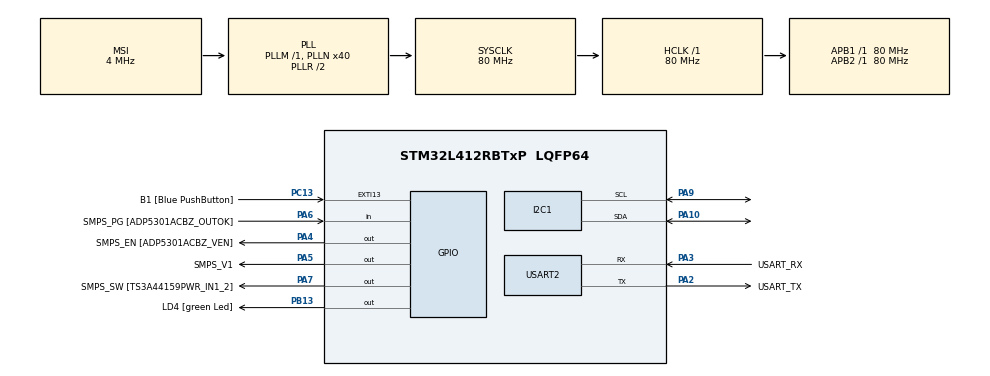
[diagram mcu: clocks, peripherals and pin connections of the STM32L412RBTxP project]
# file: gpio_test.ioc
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I2C1.Timing=0x10909CEC
Mcu.Family=STM32L4
Mcu.Name=STM32L412RBTxP
Mcu.Package=LQFP64
NVIC.PriorityGroup=NVIC_PRIORITYGROUP_4
PA10.Mode=I2C
PA10.Signal=I2C1_SDA
PA13\ (JTMS/SWDIO).GPIO_Label=TMS
PA13\ (JTMS/SWDIO).Mode=Serial_Wire
PA13\ (JTMS/SWDIO).Signal=SYS_JTMS-SWDIO
PA14\ (JTCK/SWCLK).GPIO_Label=TCK
PA14\ (JTCK/SWCLK).Mode=Serial_Wire
PA14\ (JTCK/SWCLK).Signal=SYS_JTCK-SWCLK
PA2.GPIO_Label=USART_TX
PA2.GPIO_PuPd=GPIO_NOPULL
PA2.GPIO_Speed=GPIO_SPEED_FREQ_VERY_HIGH
PA2.Mode=Asynchronous
PA2.Signal=USART2_TX
PA3.GPIO_Label=USART_RX
PA3.GPIO_PuPd=GPIO_NOPULL
PA3.GPIO_Speed=GPIO_SPEED_FREQ_VERY_HIGH
PA3.Mode=Asynchronous
PA3.Signal=USART2_RX
PA4.GPIO_Label=SMPS_EN [ADP5301ACBZ_VEN]
PA4.Signal=GPIO_Output
PA5.GPIO_Label=SMPS_V1
PA5.GPIO_ModeDefaultOutputPP=GPIO_MODE_OUTPUT_PP
PA5.GPIO_PuPd=GPIO_NOPULL
PA5.GPIO_Speed=GPIO_SPEED_FREQ_LOW
PA5.Signal=GPIO_Output
PA6.GPIO_Label=SMPS_PG [ADP5301ACBZ_OUTOK]
PA6.GPIO_PuPd=GPIO_PULLUP
PA6.Signal=GPIO_Input
PA7.GPIO_Label=SMPS_SW [TS3A44159PWR_IN1_2]
PA7.Signal=GPIO_Output
PA9.Mode=I2C
PA9.Signal=I2C1_SCL
PB13.GPIO_Label=LD4 [green Led]
PB13.Signal=GPIO_Output
PB3\ (JTDO/TRACESWO).GPIO_Label=SWO
PB3\ (JTDO/TRACESWO).Signal=SYS_JTDO-SWO
PC13.GPIO_Label=B1 [Blue PushButton]
PC13.GPIO_ModeDefaultEXTI=GPIO_MODE_IT_FALLING
PC13.GPIO_PuPd=GPIO_NOPULL
PC13.Signal=GPXTI13
PC14-OSC32_IN\ (PC14).Mode=LSE-External-Oscillator
PC14-OSC32_IN\ (PC14).Signal=RCC_OSC32_IN
PC15-OSC32_OUT\ (PC15).Mode=LSE-External-Oscillator
PC15-OSC32_OUT\ (PC15).Signal=RCC_OSC32_OUT
PH0-OSC_IN\ (PH0).GPIO_Label=MCO
PH0-OSC_IN\ (PH0).Mode=HSE-External-Clock-Source
PH0-OSC_IN\ (PH0).Signal=RCC_OSC_IN
PH1-OSC_OUT\ (PH1).Signal=RCC_OSC_OUT
ProjectManager.HeapSize=0x200
ProjectManager.StackSize=0x400
ProjectManager.TargetToolchain=STM32CubeIDE
RCC.ADCFreq_Value=80000000
RCC.AHBFreq_Value=80000000
RCC.APB1Freq_Value=80000000
RCC.APB1TimFreq_Value=80000000
RCC.APB2Freq_Value=80000000
RCC.APB2TimFreq_Value=80000000
RCC.CortexFreq_Value=80000000
RCC.FLatency=FLASH_LATENCY_4
RCC.HCLKFreq_Value=80000000
RCC.HSE_VALUE=8000000
RCC.HSI48_VALUE=48000000
RCC.HSICalibrationValue=16
RCC.HSI_VALUE=16000000
RCC.MSIAutoCalibration=DISABLED
RCC.MSI_VALUE=4000000
RCC.PLLN=40
RCC.PREFETCH_ENABLE=1
RCC.SYSCLKFreq_VALUE=80000000
RCC.SYSCLKSource=RCC_SYSCLKSOURCE_PLLCLK
RCC.USBFreq_Value=4000000
RCC.VCOOutputFreq_Value=160000000
USART2.VirtualMode-Asynchronous=VM_ASYNC
board=NUCLEO-L412RB-P

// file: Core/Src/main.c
/* USER CODE BEGIN Header */
/**
  ******************************************************************************
  * @file           : main.c
  * @brief          : Main program body
  ******************************************************************************
  * @attention
  *
  * <h2><center>&copy; Copyright (c) 2021 STMicroelectronics.
  * All rights reserved.</center></h2>
  *
  * This software component is licensed by ST under BSD 3-Clause license,
  * the "License"; You may not use this file except in compliance with the
  * License. You may obtain a copy of the License at:
  *                        opensource.org/licenses/BSD-3-Clause
  *
  ******************************************************************************
  */
/* USER CODE END Header */
#include "main.h"
#include "i2c.h"
#include "usart.h"
#include "gpio.h"

/* USER CODE BEGIN Includes */
#include <stdio.h>
/* USER CODE END Includes */

/* USER CODE BEGIN PTD */
#ifdef __GNUC__
    #define PUTCHAR_PROTOTYPE int __io_putchar(int ch)
#else
    #define PUTCHAR_PROTOTYPE int fputc(int ch, FILE *f)
#endif

PUTCHAR_PROTOTYPE
{
  HAL_UART_Transmit(&huart2, (uint8_t *)&ch, 1, 0xFFFF);
  return ch;
}
/* USER CODE END PTD */

void SystemClock_Config(void);

/* USER CODE BEGIN 0 */
void check(void)
{
	if (HAL_GPIO_ReadPin(GPIOA, GPIO_PIN_10) == GPIO_PIN_SET)
	{
		  HAL_GPIO_WritePin(GPIOB, LD4_Pin, GPIO_PIN_SET);
		  printf("set! \r\n");
	}
	else
	{
		  HAL_GPIO_WritePin(GPIOB, LD4_Pin, GPIO_PIN_RESET);
		  printf("reset! \r\n");
	}
}
/* USER CODE END 0 */

int main(void)
{

  /* MCU Configuration--------------------------------------------------------*/

  /* Reset of all peripherals, Initializes the Flash interface and the Systick. */
  HAL_Init();

  /* Configure the system clock */
  SystemClock_Config();

  /* Initialize all configured peripherals */
  MX_GPIO_Init();
  MX_USART2_UART_Init();
  MX_I2C1_Init();

  /* Infinite loop */
  /* USER CODE BEGIN WHILE */
  printf("init reset \r\n");
#if 0
  GPIO_InitTypeDef GPIO_InitStruct = {0};
  HAL_I2C_MspDeInit(&hi2c1);

  HAL_GPIO_WritePin(GPIOA, GPIO_PIN_10, GPIO_PIN_SET);

  GPIO_InitStruct.Pin = GPIO_PIN_9|GPIO_PIN_10;
  GPIO_InitStruct.Mode = GPIO_MODE_OUTPUT_PP;
  GPIO_InitStruct.Pull = GPIO_PULLUP;
  GPIO_InitStruct.Speed = GPIO_SPEED_FREQ_VERY_HIGH;

  HAL_GPIO_Init(GPIOA, &GPIO_InitStruct);
#endif

  while (1)
  {
//	  HAL_GPIO_TogglePin(GPIOA, GPIO_PIN_10);
//	  HAL_GPIO_WritePin(GPIOB, GPIO_PIN_2, GPIO_PIN_SET);
//	  HAL_Delay(1000);
//	  check();
	  HAL_Delay(1000);
	  check();

    /* USER CODE END WHILE */

  }
}

void SystemClock_Config(void)
{
  RCC_OscInitTypeDef RCC_OscInitStruct = {0};
  RCC_ClkInitTypeDef RCC_ClkInitStruct = {0};
  RCC_PeriphCLKInitTypeDef PeriphClkInit = {0};

  /** Configure the main internal regulator output voltage
  */
  if (HAL_PWREx_ControlVoltageScaling(PWR_REGULATOR_VOLTAGE_SCALE1) != HAL_OK)
  {
    Error_Handler();
  }
  /** Initializes the RCC Oscillators according to the specified parameters
  * in the RCC_OscInitTypeDef structure.
  */
  RCC_OscInitStruct.OscillatorType = RCC_OSCILLATORTYPE_MSI;
  RCC_OscInitStruct.MSIState = RCC_MSI_ON;
  RCC_OscInitStruct.MSICalibrationValue = 0;
  RCC_OscInitStruct.MSIClockRange = RCC_MSIRANGE_6;
  RCC_OscInitStruct.PLL.PLLState = RCC_PLL_ON;
  RCC_OscInitStruct.PLL.PLLSource = RCC_PLLSOURCE_MSI;
  RCC_OscInitStruct.PLL.PLLM = 1;
  RCC_OscInitStruct.PLL.PLLN = 40;
  RCC_OscInitStruct.PLL.PLLQ = RCC_PLLQ_DIV2;
  RCC_OscInitStruct.PLL.PLLR = RCC_PLLR_DIV2;
  if (HAL_RCC_OscConfig(&RCC_OscInitStruct) != HAL_OK)
  {
    Error_Handler();
  }
  /** Initializes the CPU, AHB and APB buses clocks
  */
  RCC_ClkInitStruct.ClockType = RCC_CLOCKTYPE_HCLK|RCC_CLOCKTYPE_SYSCLK
                              |RCC_CLOCKTYPE_PCLK1|RCC_CLOCKTYPE_PCLK2;
  RCC_ClkInitStruct.SYSCLKSource = RCC_SYSCLKSOURCE_PLLCLK;
  RCC_ClkInitStruct.AHBCLKDivider = RCC_SYSCLK_DIV1;
  RCC_ClkInitStruct.APB1CLKDivider = RCC_HCLK_DIV1;
  RCC_ClkInitStruct.APB2CLKDivider = RCC_HCLK_DIV1;

  if (HAL_RCC_ClockConfig(&RCC_ClkInitStruct, FLASH_LATENCY_4) != HAL_OK)
  {
    Error_Handler();
  }
  PeriphClkInit.PeriphClockSelection = RCC_PERIPHCLK_USART2|RCC_PERIPHCLK_I2C1;
  PeriphClkInit.Usart2ClockSelection = RCC_USART2CLKSOURCE_PCLK1;
  PeriphClkInit.I2c1ClockSelection = RCC_I2C1CLKSOURCE_PCLK1;
  if (HAL_RCCEx_PeriphCLKConfig(&PeriphClkInit) != HAL_OK)
  {
    Error_Handler();
  }
}

void Error_Handler(void)
{
  __disable_irq();
  while (1)
  {
  }
}

/************************ (C) COPYRIGHT STMicroelectronics *****END OF FILE****/
